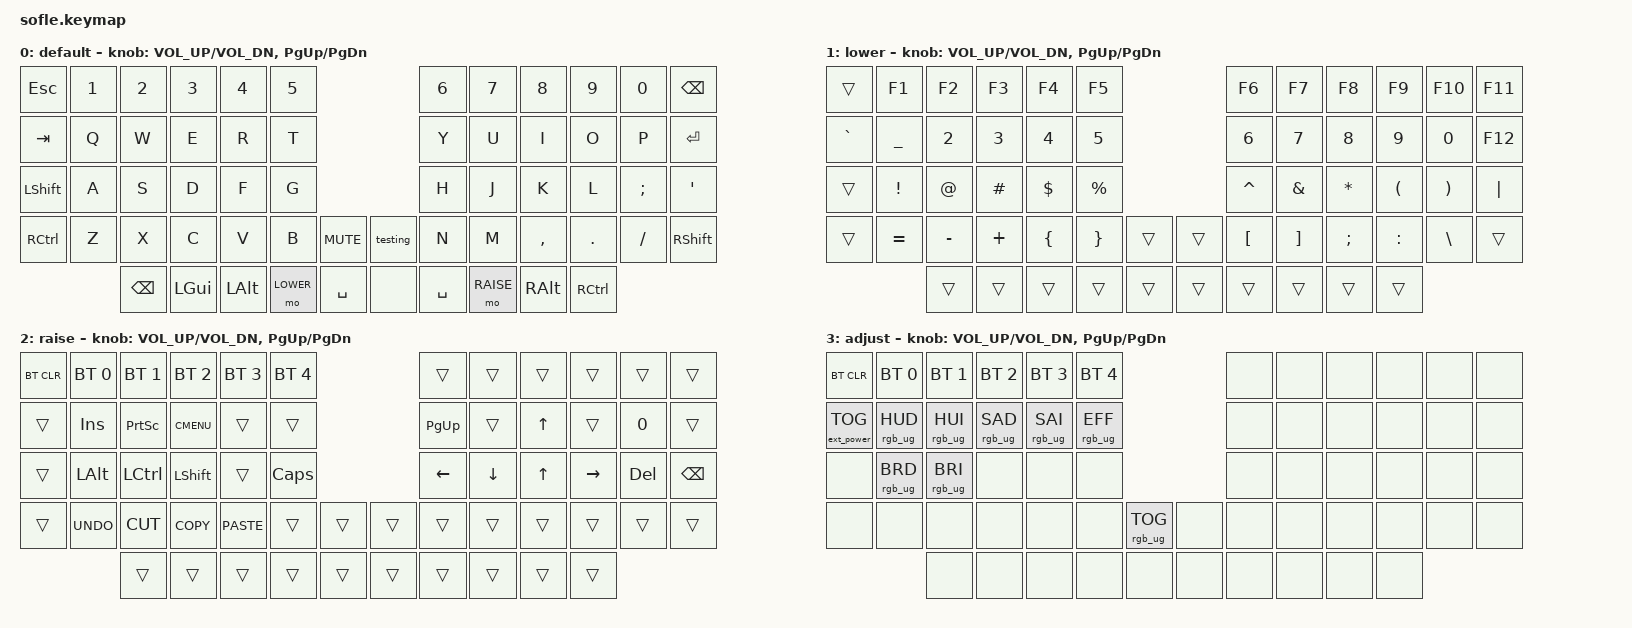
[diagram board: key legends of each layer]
/*
 * Copyright (c) 2020 The ZMK Contributors
 *
 * SPDX-License-Identifier: MIT
 */

#include <behaviors.dtsi>
#include <dt-bindings/zmk/keys.h>
#include <dt-bindings/zmk/bt.h>
#include <dt-bindings/zmk/rgb.h>
#include <dt-bindings/zmk/ext_power.h>

#define BASE 0
#define LOWER 1
#define RAISE 2
#define ADJUST 3

&led_strip {
    chain-length = <36>;
};

&nice_view_spi {
    cs-gpios = <&pro_micro 4 GPIO_ACTIVE_HIGH>;
};

/ {
     macros {
        testing: testing {
            compatible = "zmk,behavior-macro";
            #binding-cells = <0>;


                  bindings =
            <&kp U>          // u
            , <&kp LS(N)>    // N
            , <&kp N3>       // 3
            , <&kp N4>       // 4
            , <&kp N5>       // 5
            , <&kp N3>       // 3
            , <&kp LS(MINUS)>// _
            , <&kp C>        // c
            , <&kp U>        // u
            , <&kp LS(R)>    // R
            , <&kp R>        // r
            , <&kp N5>       // 5
            , <&kp LS(MINUS)>// _
            , <&kp N8>       // 8
            , <&kp LS(R)>    // R
            , <&kp N1>       // 1
            , <&kp D>        // d
            , <&kp L>        // l
            , <&kp N3>       // 3
            , <&kp D>;       // d
        };
    };

   // Activate ADJUST layer by pressing raise and lower
    conditional_layers {
        compatible = "zmk,conditional-layers";
        adjust_layer {
            if-layers = <LOWER RAISE>;
            then-layer = <ADJUST>;
        };
    };


    keymap {
        compatible = "zmk,keymap";

        default_layer {
            display-name = "default";
                // ------------------------------------------------------------------------------------------------------------
                // |   `   |  1  |  2  |  3   |  4   |  5   |                   |  6   |  7    |  8    |  9   |   0   |       |
                // |  ESC  |  Q  |  W  |  E   |  R   |  T   |                   |  Y   |  U    |  I    |  O   |   P   | BKSPC |
                // |  TAB  |  A  |  S  |  D   |  F   |  G   |                   |  H   |  J    |  K    |  L   |   ;   |   '   |
                // | SHIFT |  Z  |  X  |  C   |  V   |  B   |  MUTE  |  |       |  N   |  M    |  ,    |  .   |   /   | SHIFT |
                //               | GUI | ALT  | CTRL | LOWER|  ENTER |  | SPACE | RAISE| CTRL  | ALT   | GUI  |
            bindings = <
                &kp ESC &kp N1 &kp N2   &kp N3   &kp N4    &kp N5                           &kp N6 &kp N7    &kp N8    &kp N9   &kp N0   &kp BSPC
                &kp TAB &kp Q  &kp W    &kp E    &kp R     &kp T                            &kp Y  &kp U     &kp I     &kp O    &kp P    &kp RET 
                &kp LSHIFT &kp A  &kp S    &kp D    &kp F     &kp G                            &kp H  &kp J     &kp K     &kp L    &kp SEMI &kp SQT
                &kp RCTRL &kp Z  &kp X    &kp C    &kp V     &kp B      &kp C_MUTE &testing &kp N  &kp M     &kp COMMA &kp DOT  &kp FSLH &kp RSHFT
                                &kp BSPC &kp LGUI &kp LALT &mo LOWER  &kp SPACE &none &kp SPACE &mo RAISE &kp RALT  &kp RCTRL
            >;
            sensor-bindings = <
                &inc_dec_kp C_VOL_UP C_VOL_DN 
                &inc_dec_kp PG_UP PG_DN
                >;
        };

        lower_layer {
            display-name = "lower";
                // ------------------------------------------------------------------------------------------------------------
                // |       |  F1 |  F2 |  F3  |  F4  |  F5  |                   |  F6  |  F7   |  F8   |  F9  |  F10  |  F11  |
                // |   `   |  1  |  2  |  3   |  4   |  5   |                   |  6   |  7    |  8    |  9   |   0   |  F12  |
                // |       |  !  |  @  |  #   |  $   |  %   |                   |  ^   |  &    |  *    |  (   |   )   |   |   |
                // |       |  =  |  -  |  +   |  {   |  }   |        |  |       |  [   |  ]    |  ;    |  :   |   \   |       |
                //               |     |      |      |      |        |  |       |      |       |       |      |
            bindings = <
                &trans &kp F1    &kp F2    &kp F3      &kp F4    &kp F5                    &kp F6    &kp F7   &kp F8    &kp F9    &kp F10   &kp F11
                &kp GRAVE &kp UNDERSCORE &kp N2    &kp N3      &kp N4    &kp N5                    &kp N6    &kp N7   &kp N8    &kp N9    &kp N0    &kp F12
                &trans    &kp EXCL  &kp AT    &kp HASH    &kp DLLR  &kp PRCNT                 &kp CARET &kp AMPS &kp ASTRK &kp LPAR  &kp RPAR  &kp PIPE
                &trans    &kp EQUAL &kp MINUS &kp PLUS &kp LBRC  &kp RBRC   &trans &trans  &kp LBKT  &kp RBKT &kp SEMI  &kp COLON &kp BSLH  &trans
                                    &trans    &trans      &trans    &trans     &trans &trans  &trans    &trans   &trans    &trans
            >;
            sensor-bindings = <
                &inc_dec_kp C_VOL_UP C_VOL_DN 
                &inc_dec_kp PG_UP PG_DN
            >;
        };

        raise_layer {
            display-name = "raise";
                // ------------------------------------------------------------------------------------------------------------
                // | BTCLR | BT1  | BT2  |  BT3  |  BT4  |  BT5 |                |      |      |       |      |       |       |
                // |       | INS  | PSCR | GUI   |       |      |                | PGUP |      |   ^   |      |       |       |
                // |       | ALT  | CTRL | SHIFT |       | CAPS |                | PGDN |   <- |   v   |  ->  |  DEL  | BKSPC |
                // |       | UNDO | CUT  | COPY  | PASTE |      |      |  |      |      |      |       |      |       |       |
                //                |      |       |       |      |      |  |      |      |      |       |      |
            bindings = <
                &bt BT_CLR &bt BT_SEL 0 &bt BT_SEL 1 &bt BT_SEL 2 &bt BT_SEL 3 &bt BT_SEL 4                  &trans    &trans    &trans   &trans    &trans  &trans
                &trans     &kp INS      &kp PSCRN    &kp K_CMENU  &trans       &trans                        &kp PG_UP &trans    &kp UP   &trans    &kp N0  &trans
                &trans     &kp LALT     &kp LCTRL    &kp LSHFT    &trans       &kp CLCK                      &kp LEFT &kp DOWN &kp UP &kp RIGHT &kp DEL &kp BSPC
                &trans     &kp K_UNDO   &kp K_CUT    &kp K_COPY   &kp K_PASTE  &trans        &trans  &trans  &trans    &trans    &trans   &trans    &trans  &trans
                                        &trans       &trans       &trans       &trans        &trans  &trans  &trans    &trans    &trans   &trans
            >;
            sensor-bindings = <
                &inc_dec_kp C_VOL_UP C_VOL_DN 
                &inc_dec_kp PG_UP PG_DN
            >;
        };

        adjust_layer {
                // ----------------------------------------------------------------------------------------------------------------------------
                // | BTCLR  |  BT1    |  BT2    |   BT3   |   BT4   |   BT5   |                  |      |      |       |      |       |       |
                // | EXTPWR | RGB_HUD | RGB_HUI | RGB_SAD | RGB_SAI | RGB_EFF |                  |      |      |       |      |       |       |
                // |        | RGB_BRD | RGB_BRI |         |         |         |                  |      |      |       |      |       |       |
                // |        |         |         |         |         |         | RGB_TOG | |      |      |      |       |      |       |       |
                //                    |         |         |         |         |         | |      |      |      |       |      |
            display-name = "adjust";
            bindings = <
                &bt BT_CLR        &bt BT_SEL 0    &bt BT_SEL 1    &bt BT_SEL 2    &bt BT_SEL 3    &bt BT_SEL 4                            &none &none &none &none &none &none
                &ext_power EP_TOG &rgb_ug RGB_HUD &rgb_ug RGB_HUI &rgb_ug RGB_SAD &rgb_ug RGB_SAI &rgb_ug RGB_EFF                         &none &none &none &none &none &none
                &none             &rgb_ug RGB_BRD &rgb_ug RGB_BRI &none           &none           &none                                   &none &none &none &none &none &none
                &none             &none           &none           &none           &none           &none            &rgb_ug RGB_TOG &none  &none &none &none &none &none &none
                                                &none           &none           &none           &none            &none           &none  &none &none &none &none
            >;
            sensor-bindings = <
                &inc_dec_kp C_VOL_UP C_VOL_DN 
                &inc_dec_kp PG_UP PG_DN
            >;
        };

    };
};
